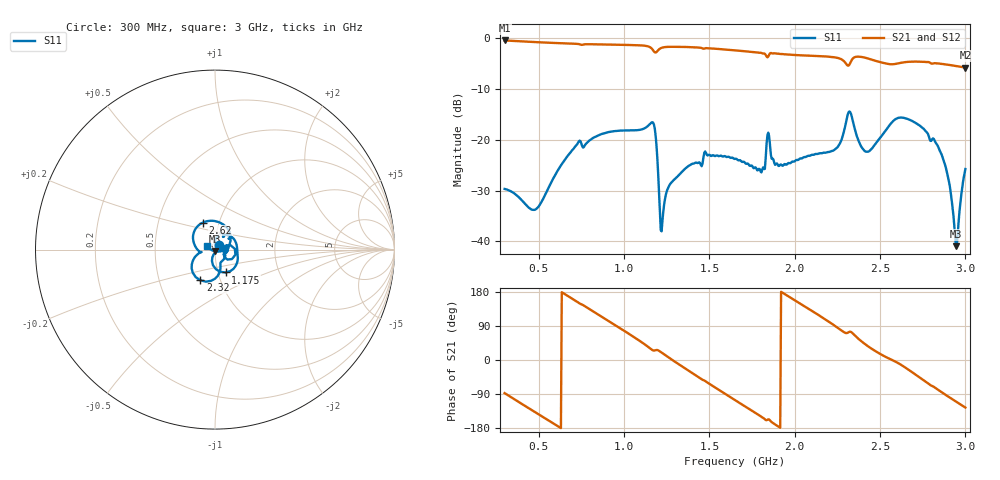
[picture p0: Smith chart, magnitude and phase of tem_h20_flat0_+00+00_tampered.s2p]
! tem_h20_flat0_+00+00_tampered
! simulated by sim/fixtures_fdtd.py (S12 = S21, S22 not computed)
# HZ S RI R 50
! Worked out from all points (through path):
!   541 points, 300 MHz to 3 GHz, reference 50 ohm
!   highest |S21| = -0.48 dB at 300 MHz (marker M1); lowest = -5.8 dB at 3 GHz (marker M2)
!   group delay of S21, straight-line fit = 777 ps
!   lowest |S11| = -40.9 dB at 2.945 GHz (marker M3), VSWR 1.02, Z = 49.9 - j0.893 ohm
!   |S11| at or under -10 dB: start of sweep to end of sweep
!   |S22| runs from - to - dB; largest |S21 - S12| = 0
!   S11 on the Smith chart (normalised r, x): 300 MHz: 1.04, +0.05; 1.175 GHz: 1.09, -0.28; 2.32 GHz: 0.80, -0.29; 2.62 GHz: 0.84, +0.26; 3 GHz: 0.91, +0.04
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3e8  0.02 0.026  0.043 -0.9448  0.043 -0.9448  0 0
5.45e8  0.000225 0.0304  -0.8234 -0.3646  -0.8234 -0.3646  0 0
7.5e8  0.0514 0.0756  -0.7174 0.4678  -0.7174 0.4678  0 0
9.7e8  0.1143 0.0441  0.0633 0.8552  0.0633 0.8552  0 0
1.175e9  0.06 -0.1274  0.6689 0.311  0.6689 0.311  0 0
1.2e9  -0.0146 -0.0431  0.6864 0.3267  0.6864 0.3267  0 0
1.22e9  0.0102 -0.00728  0.7548 0.2671  0.7548 0.2671  0 0
1.27e9  0.0365 0.00375  0.8175 0.0534  0.8175 0.0534  0 0
1.445e9  0.0586 0.00747  0.5404 -0.5941  0.5404 -0.5941  0 0
1.65e9  0.063 -0.0147  -0.2065 -0.7266  -0.2065 -0.7266  0 0
1.81e9  0.0509 -0.0012  -0.6216 -0.3368  -0.6216 -0.3368  0 0
1.845e9  0.1136 -0.0289  -0.6034 -0.2609  -0.6034 -0.2609  0 0
1.885e9  0.0491 -0.028  -0.6951 -0.1202  -0.6951 -0.1202  0 0
2.1e9  0.0538 -0.0463  -0.4283 0.5124  -0.4283 0.5124  0 0
2.25e9  0.0298 -0.0785  0.0497 0.6362  0.0497 0.6362  0 0
2.32e9  -0.0816 -0.1713  0.1472 0.5254  0.1472 0.5254  0 0
2.42e9  -0.0749 -0.014  0.492 0.4015  0.492 0.4015  0 0
2.55e9  -0.1219 0.0568  0.5533 0.0412  0.5533 0.0412  0 0
2.62e9  -0.0674 0.1505  0.557 -0.117  0.557 -0.117  0 0
2.845e9  0.078 0.0237  0.096 -0.5526  0.096 -0.5526  0 0
2.945e9  -0.000648 -0.00895  -0.1805 -0.4979  -0.1805 -0.4979  0 0
3e9  -0.0468 0.0215  -0.2977 -0.4165  -0.2977 -0.4165  0 0
